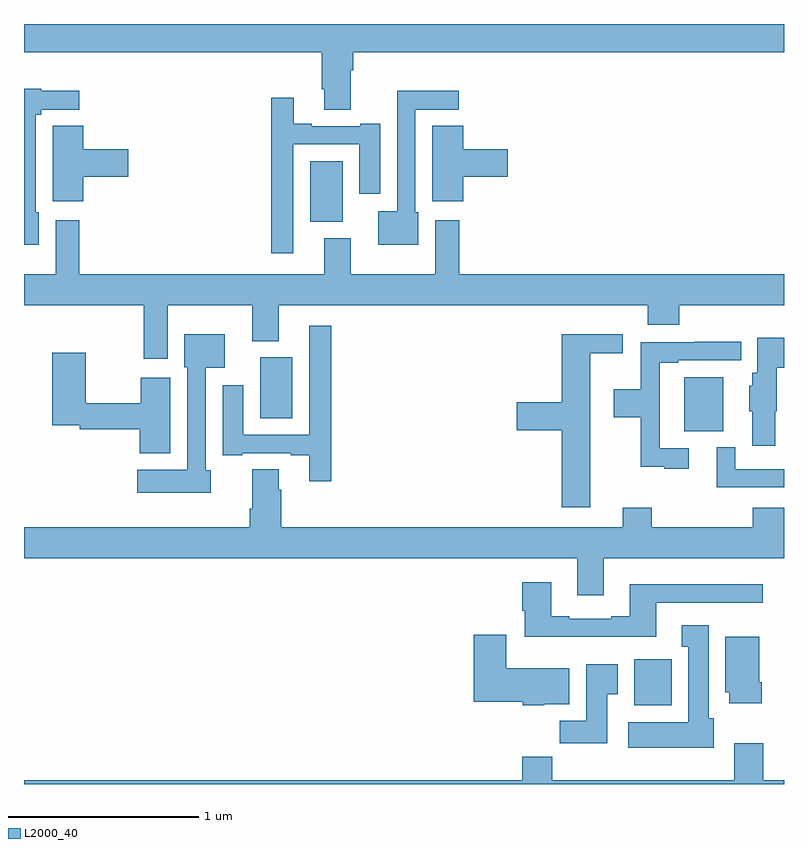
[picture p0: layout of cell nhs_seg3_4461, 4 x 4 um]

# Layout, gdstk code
import gdstk
lib = gdstk.Library(unit=1e-6, precision=1e-09)
def R(c, l, rs):  # rectangles x0, y0, x1, y1
    for r in rs: c.add(gdstk.rectangle(r[:2], r[2:], *l))
def P(c, l, *ps):  # polygons
    for p in ps: c.add(gdstk.Polygon(p, *l))
L2000_40 = (2000, 40)

nhs_seg3_4461 = lib.new_cell('nhs_seg3_4461')
R(nhs_seg3_4461, L2000_40, [(352.211,694.814,352.408,695.056), (352.475,696.257,352.681,696.541), (350.243,696.326,350.413,696.646), (350.507,697.358,350.677,697.678)])
P(nhs_seg3_4461, L2000_40, [(350.719,698.156),(350.732,698.156),(350.732,698.252),(353,698.252),(353,698.4),(349,698.4),(349,698.252),(350.567,698.252),(350.567,698.056),(350.579,698.056),(350.579,697.948),(350.719,697.948)],
  [(349.078,697.41),(349.062,697.41),(349.062,697.922),(349.092,697.922),(349.092,697.95),(349.291,697.95),(349.291,698.048),(349.092,698.048),(349.092,698.059),(349,698.059),(349,697.238),(349.078,697.238)],
  [(351.076,697.41),(351.06,697.41),(351.06,697.95),(351.289,697.95),(351.289,698.048),(350.964,698.048),(350.964,697.414),(350.864,697.414),(350.864,697.238),(351.076,697.238)],
  [(350.418,697.767),(350.765,697.767),(350.765,697.506),(350.875,697.506),(350.875,697.876),(350.771,697.876),(350.771,697.863),(350.515,697.863),(350.515,697.876),(350.419,697.876),(350.419,698.011),(350.302,698.011),(350.302,697.194),(350.418,697.194)],
  [(349.313,697.595),(349.549,697.595),(349.549,697.742),(349.313,697.742),(349.313,697.865),(349.151,697.865),(349.151,697.467),(349.313,697.467)],
  [(351.311,697.595),(351.547,697.595),(351.547,697.742),(351.311,697.742),(351.311,697.865),(351.149,697.865),(351.149,697.467),(351.311,697.467)],
  [(349.292,697.366),(349.166,697.366),(349.166,697.084),(349,697.084),(349,696.92),(349.631,696.92),(349.631,696.639),(349.756,696.639),(349.756,696.92),(350.201,696.92),(350.201,696.731),(350.341,696.731),(350.341,696.92),(352.283,696.92),(352.283,696.818),(352.448,696.818),(352.448,696.92),(353,696.92),(353,697.084),(351.29,697.084),(351.29,697.366),(351.164,697.366),(351.164,697.084),(350.719,697.084),(350.719,697.273),(350.579,697.273),(350.579,697.084),(349.292,697.084)],
  [(350.618,696.811),(350.502,696.811),(350.502,696.237),(350.155,696.237),(350.155,696.499),(350.045,696.499),(350.045,696.129),(350.149,696.129),(350.149,696.141),(350.405,696.141),(350.405,696.129),(350.501,696.129),(350.501,695.994),(350.618,695.994)],
  [(351.979,696.668),(352.15,696.668),(352.15,696.766),(351.83,696.766),(351.83,696.41),(351.594,696.41),(351.594,696.263),(351.83,696.263),(351.83,695.856),(351.979,695.856)],
  [(349.984,696.051),(349.956,696.051),(349.956,696.59),(350.056,696.59),(350.056,696.766),(349.844,696.766),(349.844,696.594),(349.86,696.594),(349.86,696.055),(349.596,696.055),(349.596,695.933),(349.984,695.933)],
  [(352.954,696.363),(352.963,696.363),(352.963,696.59),(353,696.59),(353,696.748),(352.859,696.748),(352.859,696.564),(352.832,696.564),(352.832,696.495),(352.817,696.495),(352.817,696.363),(352.832,696.363),(352.832,696.18),(352.954,696.18)],
  [(352.498,696.168),(352.347,696.168),(352.347,696.618),(352.444,696.618),(352.444,696.63),(352.774,696.63),(352.774,696.728),(352.531,696.728),(352.531,696.726),(352.246,696.726),(352.246,696.478),(352.104,696.478),(352.104,696.331),(352.246,696.331),(352.246,696.071),(352.37,696.071),(352.37,696.06),(352.498,696.06)],
  [(349.771,696.538),(349.615,696.538),(349.615,696.404),(349.326,696.404),(349.326,696.67),(349.148,696.67),(349.148,696.288),(349.294,696.288),(349.294,696.268),(349.61,696.268),(349.61,696.14),(349.771,696.14)],
  [(353,696.057),(352.743,696.057),(352.743,696.172),(352.646,696.172),(352.646,695.961),(353,695.961)],
  [(352.051,695.588),(353,695.588),(353,695.854),(352.835,695.854),(352.835,695.752),(352.304,695.752),(352.304,695.854),(352.151,695.854),(352.151,695.752),(350.354,695.752),(350.354,695.948),(350.341,695.948),(350.341,696.056),(350.201,696.056),(350.201,695.848),(350.189,695.848),(350.189,695.752),(349,695.752),(349,695.588),(351.911,695.588),(351.911,695.394),(352.051,695.394)],
  [(352.327,695.355),(352.888,695.355),(352.888,695.452),(352.187,695.452),(352.187,695.284),(352.091,695.284),(352.091,695.271),(351.871,695.271),(351.871,695.284),(351.775,695.284),(351.775,695.461),(351.623,695.461),(351.623,695.313),(351.635,695.313),(351.635,695.174),(352.327,695.174)],
  [(352.63,694.746),(352.603,694.746),(352.603,695.236),(352.463,695.236),(352.463,695.123),(352.496,695.123),(352.496,694.726),(352.179,694.726),(352.179,694.592),(352.63,694.592)],
  [(351.738,694.82),(351.871,694.82),(351.871,695.008),(351.538,695.008),(351.538,695.185),(351.368,695.185),(351.368,694.832),(351.624,694.832),(351.624,694.814),(351.738,694.814)],
  [(352.883,694.936),(352.87,694.936),(352.87,695.176),(352.691,695.176),(352.691,694.884),(352.712,694.884),(352.712,694.824),(352.883,694.824)],
  [(352.069,694.873),(352.126,694.873),(352.126,695.029),(351.959,695.029),(351.959,694.732),(351.82,694.732),(351.82,694.614),(352.069,694.614)],
  [(353,694.42),(352.892,694.42),(352.892,694.615),(352.739,694.615),(352.739,694.42),(351.779,694.42),(351.779,694.544),(351.623,694.544),(351.623,694.42),(349,694.42),(349,694.4),(353,694.4)])

lib.write_gds('nhs_seg3_4461.gds')
